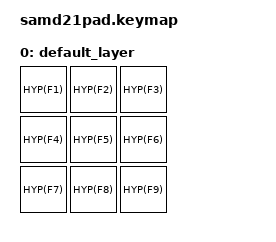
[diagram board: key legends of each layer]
/*
 * Copyright (c) 2020 The ZMK Contributors
 *
 * SPDX-License-Identifier: MIT
 */

#include <behaviors.dtsi>
#include <dt-bindings/zmk/keys.h>

#define HYP(x) LC(LA(LS(LG(x))))

/ {
    keymap {
        compatible = "zmk,keymap";
	/*
	SW1 -> 0,0
	SW2 -> 0,1
	SW3 -> 0,1 and 0,2
	SW4 -> 0,3
	SW5 -> 0,4 and 0,7 and 0,8
	SW6 -> 0,4
	SW7 -> 0,6
	SW8 -> 0,7
	SW9 -> 0,8
	*/

        default_layer {
            bindings = <
                &kp HYP(F1) &kp HYP(F2) &kp HYP(F3)
                &kp HYP(F4) &kp HYP(F5) &kp HYP(F6)
                &kp HYP(F7) &kp HYP(F8) &kp HYP(F9)
            >;
        };
    };
};

